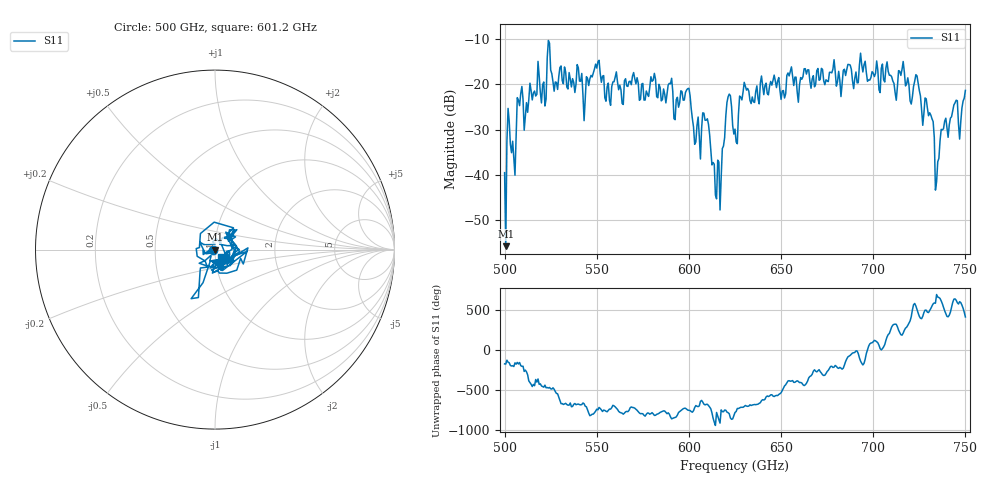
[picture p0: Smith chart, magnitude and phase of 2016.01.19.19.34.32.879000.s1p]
!Created with skrf (http://scikit-rf.org).
# GHz S RI R 50.0
!freq ReS11 ImS11
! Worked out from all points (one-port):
!   401 points, 500 GHz to 750 GHz, reference 50 ohm
!   lowest |S11| = -55.7 dB at 500.6 GHz (marker M1), VSWR 1.00, Z = 49.8 - j0.00648 ohm
!   |S11| at or under -10 dB: start of sweep to end of sweep
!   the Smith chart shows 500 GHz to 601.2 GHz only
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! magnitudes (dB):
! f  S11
! 500 GHz  -39.5
! 500.6 GHz  -55.7
! 502.5 GHz  -28.2
! 505 GHz  -36.3
! 508.1 GHz  -24.7
! 521.2 GHz  -19.5
! 524.4 GHz  -11.0
! 527.5 GHz  -19.5
! 531.2 GHz  -19.2
! 543.8 GHz  -23.0
! 550 GHz  -16.4
! 562.5 GHz  -20.2
! 580.6 GHz  -19.1
! 593.8 GHz  -22.9
! 599.4 GHz  -21.0
! 605 GHz  -27.2
! 608.8 GHz  -27.9
! 615.6 GHz  -36.7
! 621.2 GHz  -22.8
! 625 GHz  -29.9
! 630.6 GHz  -20.4
! 656.2 GHz  -18.3
! 687.5 GHz  -15.8
! 718.8 GHz  -18.6
! 729.4 GHz  -25.2
! 735 GHz  -37.1
! 738.1 GHz  -29.8
! 750 GHz  -21.4
